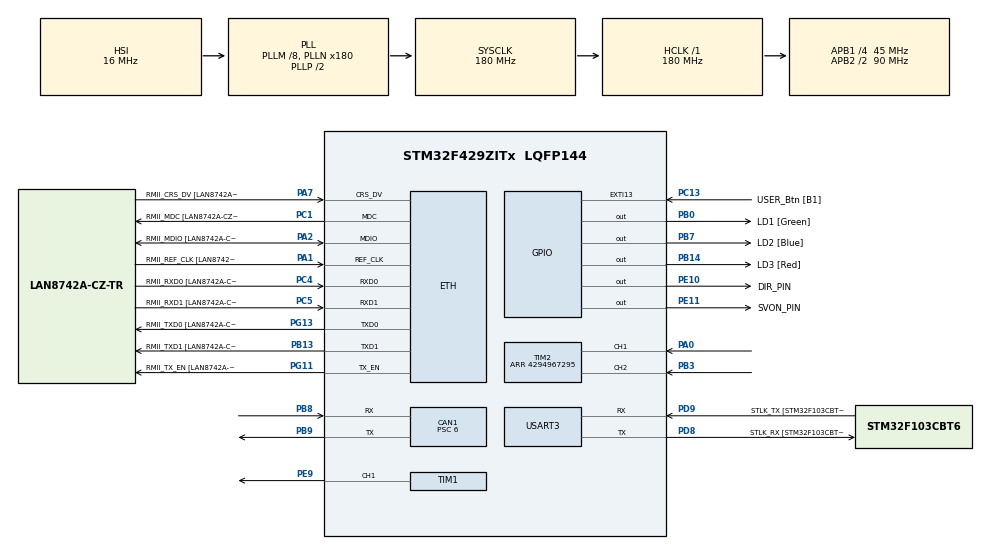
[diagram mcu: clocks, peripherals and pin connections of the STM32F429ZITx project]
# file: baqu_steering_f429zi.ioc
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CAN1.ABOM=ENABLE
CAN1.BS1=CAN_BS1_12TQ
CAN1.BS2=CAN_BS2_2TQ
CAN1.CalculateBaudRate=500000
CAN1.CalculateTimeBit=2000
CAN1.CalculateTimeQuantum=133.33333333333331
CAN1.NART=ENABLE
CAN1.Prescaler=6
CAN1.SJW=CAN_SJW_2TQ
ETH.MediaInterface=HAL_ETH_RMII_MODE
ETH.PHY_Name=LAN8742A_PHY_ADDRESS
ETH.PHY_Value=0
ETH.PhyAddress=0
ETH.RxBuffLen=1536
IWDG.Prescaler=IWDG_PRESCALER_64
IWDG.Reload=999
LWIP.BSP.number=1
LWIP.GATEWAY_ADDRESS=000.000.000.000
LWIP.IP_ADDRESS=010.177.021.004
LWIP.LWIP_DHCP=0
LWIP.NETMASK_ADDRESS=255.255.255.000
LWIP.Version=v2.1.2_Cube
LWIP0.BSP.STBoard=false
LWIP0.BSP.api=BSP_COMPONENT_DRIVER
LWIP0.BSP.component=LAN8742
LWIP0.BSP.instance=LAN8742
LWIP0.BSP.name=Driver_PHY
LWIP0.BSP.semaphore=S_LAN8742
LWIP0.BSP.solution=LAN8742
Mcu.Family=STM32F4
Mcu.Name=STM32F429ZITx
Mcu.Package=LQFP144
NVIC.CAN1_RX0_IRQn=true\:0\:0\:false\:false\:true\:true\:true\:true
NVIC.PriorityGroup=NVIC_PRIORITYGROUP_4
PA0/WKUP.Signal=S_TIM2_CH1_ETR
PA1.GPIO_Label=RMII_REF_CLK [LAN8742A-CZ-TR_REFCLK0]
PA1.Mode=RMII
PA1.Signal=ETH_REF_CLK
PA13.GPIO_Label=TMS
PA13.Mode=Serial_Wire
PA13.Signal=SYS_JTMS-SWDIO
PA14.GPIO_Label=TCK
PA14.Mode=Serial_Wire
PA14.Signal=SYS_JTCK-SWCLK
PA2.GPIO_Label=RMII_MDIO [LAN8742A-CZ-TR_MDIO]
PA2.Mode=RMII
PA2.Signal=ETH_MDIO
PA7.GPIO_Label=RMII_CRS_DV [LAN8742A-CZ-TR_CRS_DV]
PA7.Mode=RMII
PA7.Signal=ETH_CRS_DV
PB0.GPIO_Label=LD1 [Green]
PB0.Signal=GPIO_Output
PB13.GPIO_Label=RMII_TXD1 [LAN8742A-CZ-TR_TXD1]
PB13.Mode=RMII
PB13.Signal=ETH_TXD1
PB14.GPIO_Label=LD3 [Red]
PB14.Signal=GPIO_Output
PB3.Signal=S_TIM2_CH2
PB7.GPIO_Label=LD2 [Blue]
PB7.Signal=GPIO_Output
PB8.Mode=CAN_Activate
PB8.Signal=CAN1_RX
PB9.Mode=CAN_Activate
PB9.Signal=CAN1_TX
PC1.GPIO_Label=RMII_MDC [LAN8742A-CZ-TR_MDC]
PC1.Mode=RMII
PC1.Signal=ETH_MDC
PC13.GPIO_Label=USER_Btn [B1]
PC13.Signal=GPXTI13
PC4.GPIO_Label=RMII_RXD0 [LAN8742A-CZ-TR_RXD0]
PC4.Mode=RMII
PC4.Signal=ETH_RXD0
PC5.GPIO_Label=RMII_RXD1 [LAN8742A-CZ-TR_RXD1]
PC5.Mode=RMII
PC5.Signal=ETH_RXD1
PD8.GPIO_Label=STLK_RX [STM32F103CBT6_PA3]
PD8.Mode=Asynchronous
PD8.Signal=USART3_TX
PD9.GPIO_Label=STLK_TX [STM32F103CBT6_PA2]
PD9.Mode=Asynchronous
PD9.Signal=USART3_RX
PE10.GPIO_Label=DIR_PIN
PE10.Signal=GPIO_Output
PE11.GPIO_Label=SVON_PIN
PE11.Signal=GPIO_Output
PE9.Signal=S_TIM1_CH1
PG11.GPIO_Label=RMII_TX_EN [LAN8742A-CZ-TR_TXEN]
PG11.Mode=RMII
PG11.Signal=ETH_TX_EN
PG13.GPIO_Label=RMII_TXD0 [LAN8742A-CZ-TR_TXD0]
PG13.Mode=RMII
PG13.Signal=ETH_TXD0
ProjectManager.HeapSize=0x1000
ProjectManager.StackSize=0x1000
ProjectManager.TargetToolchain=STM32CubeIDE
RCC.48MHZClocksFreq_Value=51428571.428571425
RCC.AHBFreq_Value=180000000
RCC.APB1CLKDivider=RCC_HCLK_DIV4
RCC.APB1Freq_Value=45000000
RCC.APB1TimFreq_Value=90000000
RCC.APB2CLKDivider=RCC_HCLK_DIV2
RCC.APB2Freq_Value=90000000
RCC.APB2TimCLKDivider=2
RCC.APB2TimFreq_Value=180000000
RCC.CortexFreq_Value=180000000
RCC.HCLKFreq_Value=180000000
RCC.HSE_VALUE=8000000
RCC.HSI_VALUE=16000000
RCC.LSE_VALUE=32768
RCC.PLLM=8
RCC.PLLMUL=RCC_PLL_MUL9
RCC.PLLN=180
RCC.PLLQ=7
RCC.PRESCALERUSB=RCC_USBCLKSOURCE_PLL_DIV1_5
RCC.SYSCLKFreq_VALUE=180000000
RCC.SYSCLKSource=RCC_SYSCLKSOURCE_PLLCLK
RCC.SYSCLKSourceVirtual=RCC_SYSCLKSOURCE_PLLCLK
RCC.USBFreq_Value=48000000
RCC.VCOOutputFreq_Value=360000000
SH.S_TIM1_CH1.0=TIM1_CH1,PWM Generation1 CH1
SH.S_TIM2_CH1_ETR.0=TIM2_CH1,Encoder_Interface
SH.S_TIM2_CH2.0=TIM2_CH2,Encoder_Interface
TIM1.AutoReloadPreload=TIM_AUTORELOAD_PRELOAD_ENABLE
TIM1.Channel-PWM\ Generation1\ CH1=TIM_CHANNEL_1
TIM1.Period=999
TIM1.Prescaler=17
TIM1.Pulse-PWM\ Generation1\ CH1=500
TIM2.EncoderMode=TIM_ENCODERMODE_TI12
TIM2.IC1Filter=2
TIM2.IC2Filter=4
TIM2.Period=4294967295
USART3.VirtualMode=VM_ASYNC
VP_IWDG_VS_IWDG.Mode=IWDG_Activate
VP_LWIP_VS_Enabled.Mode=Enabled
VP_TIM1_VS_ClockSourceINT.Mode=Internal
board=NUCLEO-F429ZI

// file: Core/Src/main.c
/* USER CODE BEGIN Header */
/**
  ******************************************************************************
  * @file           : main.c
  * @brief          : Main program body
  ******************************************************************************
  * @attention
  *
  * Copyright (c) 2026 STMicroelectronics.
  * All rights reserved.
  *
  * This software is licensed under terms that can be found in the LICENSE file
  * in the root directory of this software component.
  * If no LICENSE file comes with this software, it is provided AS-IS.
  *
  ******************************************************************************
  */
/* USER CODE END Header */
#include "main.h"
#include "iwdg.h"
#include "tim.h"
#include "usart.h"
#include "gpio.h"

/* USER CODE BEGIN Includes */
#include "can.h"
#include "lwip.h"

#include "config.h"
#include "encoder.h"
#include "motor.h"
#include "control.h"
#include "svon.h"
#include "comm_can.h"
#include "comm_ethernet.h"
#include "comm_manager.h"
#include "led.h"
#include "homing.h"

/* USER CODE END Includes */

void SystemClock_Config(void);

int main(void)
{

  /* MCU Configuration--------------------------------------------------------*/

  /* Reset of all peripherals, Initializes the Flash interface and the Systick. */
  HAL_Init();

  /* Configure the system clock */
  SystemClock_Config();

  /* Initialize all configured peripherals */
  MX_GPIO_Init();
  MX_USART3_UART_Init();
  MX_TIM1_Init();
  MX_TIM2_Init();
  MX_IWDG_Init();
  /* USER CODE BEGIN 2 */

  #if ((COMM_MODE == COMM_MODE_ETHERNET_ONLY) || (COMM_MODE == COMM_MODE_BOTH))
      MX_LWIP_Init();
  #endif
  #if ((COMM_MODE == COMM_MODE_CAN_ONLY) || (COMM_MODE == COMM_MODE_BOTH))
      MX_CAN1_Init();
  #endif

  LED_Init();
  Encoder_Init();
  Motor_Init();
  Control_Init();
  SVON_Init();

  Homing_Init();

  Control_Reset();
  Control_SetTargetSteeringDeg(0.0f);

  Control_Disable();
  SVON_Disable();

  CommManager_Init();

  /* USER CODE END 2 */

  /* Infinite loop */
  /* USER CODE BEGIN WHILE */

  uint32_t last_control_tick_ms = HAL_GetTick();

  while (1)
  {
      #if ((COMM_MODE == COMM_MODE_ETHERNET_ONLY) || (COMM_MODE == COMM_MODE_BOTH))
	  	  MX_LWIP_Process();
	  #endif

      /*
      * 모든 통신 / mode / timeout / status 처리
      */
      CommManager_Update();

      /*
      * control loop
      */
      uint32_t now_ms = HAL_GetTick();

      if ((uint32_t)(
              now_ms -
              last_control_tick_ms)
          >= CONTROL_PERIOD_MS) {

          last_control_tick_ms +=
              CONTROL_PERIOD_MS;

          Encoder_Update();
          Control_Update();

          {
              CommManager_State_t comm_state =
                  CommManager_GetState();

              const bool source_valid =
                  ((comm_state.mode == COMM_STEER_MODE_AUTO) &&
                   (comm_state.active_source ==
                       COMM_SOURCE_ETHERNET_PC)) ||
                  ((comm_state.mode == COMM_STEER_MODE_MANUAL) &&
                   (comm_state.active_source ==
                       COMM_SOURCE_ETHERNET_ASMS));

              const bool command_valid =
                  source_valid &&
                  (comm_state.ethernet_timeout == 0U) &&
                  ((uint32_t)(
                      HAL_GetTick() -
                      comm_state.last_valid_ethernet_tick)
                      <= ETHERNET_TIMEOUT_MS);

              Homing_Update(command_valid);
          }
      }

	    HAL_IWDG_Refresh(&hiwdg);
    /* USER CODE END WHILE */

  }
}

void SystemClock_Config(void)
{
  RCC_OscInitTypeDef RCC_OscInitStruct = {0};
  RCC_ClkInitTypeDef RCC_ClkInitStruct = {0};

  /** Configure the main internal regulator output voltage
  */
  __HAL_RCC_PWR_CLK_ENABLE();
  __HAL_PWR_VOLTAGESCALING_CONFIG(PWR_REGULATOR_VOLTAGE_SCALE1);

  /** Initializes the RCC Oscillators according to the specified parameters
  * in the RCC_OscInitTypeDef structure.
  */
  RCC_OscInitStruct.OscillatorType = RCC_OSCILLATORTYPE_HSI|RCC_OSCILLATORTYPE_LSI;
  RCC_OscInitStruct.HSIState = RCC_HSI_ON;
  RCC_OscInitStruct.HSICalibrationValue = 10U;
  RCC_OscInitStruct.LSIState = RCC_LSI_ON;
  RCC_OscInitStruct.PLL.PLLState = RCC_PLL_ON;
  RCC_OscInitStruct.PLL.PLLSource = RCC_PLLSOURCE_HSI;
  RCC_OscInitStruct.PLL.PLLM = 8;
  RCC_OscInitStruct.PLL.PLLN = 180;
  RCC_OscInitStruct.PLL.PLLP = RCC_PLLP_DIV2;
  RCC_OscInitStruct.PLL.PLLQ = 7;
  if (HAL_RCC_OscConfig(&RCC_OscInitStruct) != HAL_OK)
  {
    Error_Handler();
  }

  /** Activate the Over-Drive mode
  */
  if (HAL_PWREx_EnableOverDrive() != HAL_OK)
  {
    Error_Handler();
  }

  /** Initializes the CPU, AHB and APB buses clocks
  */
  RCC_ClkInitStruct.ClockType = RCC_CLOCKTYPE_HCLK|RCC_CLOCKTYPE_SYSCLK
                              |RCC_CLOCKTYPE_PCLK1|RCC_CLOCKTYPE_PCLK2;
  RCC_ClkInitStruct.SYSCLKSource = RCC_SYSCLKSOURCE_PLLCLK;
  RCC_ClkInitStruct.AHBCLKDivider = RCC_SYSCLK_DIV1;
  RCC_ClkInitStruct.APB1CLKDivider = RCC_HCLK_DIV4;
  RCC_ClkInitStruct.APB2CLKDivider = RCC_HCLK_DIV2;

  if (HAL_RCC_ClockConfig(&RCC_ClkInitStruct, FLASH_LATENCY_5) != HAL_OK)
  {
    Error_Handler();
  }
}

void Error_Handler(void)
{
  __disable_irq();
  while (1)
  {
  }
}
